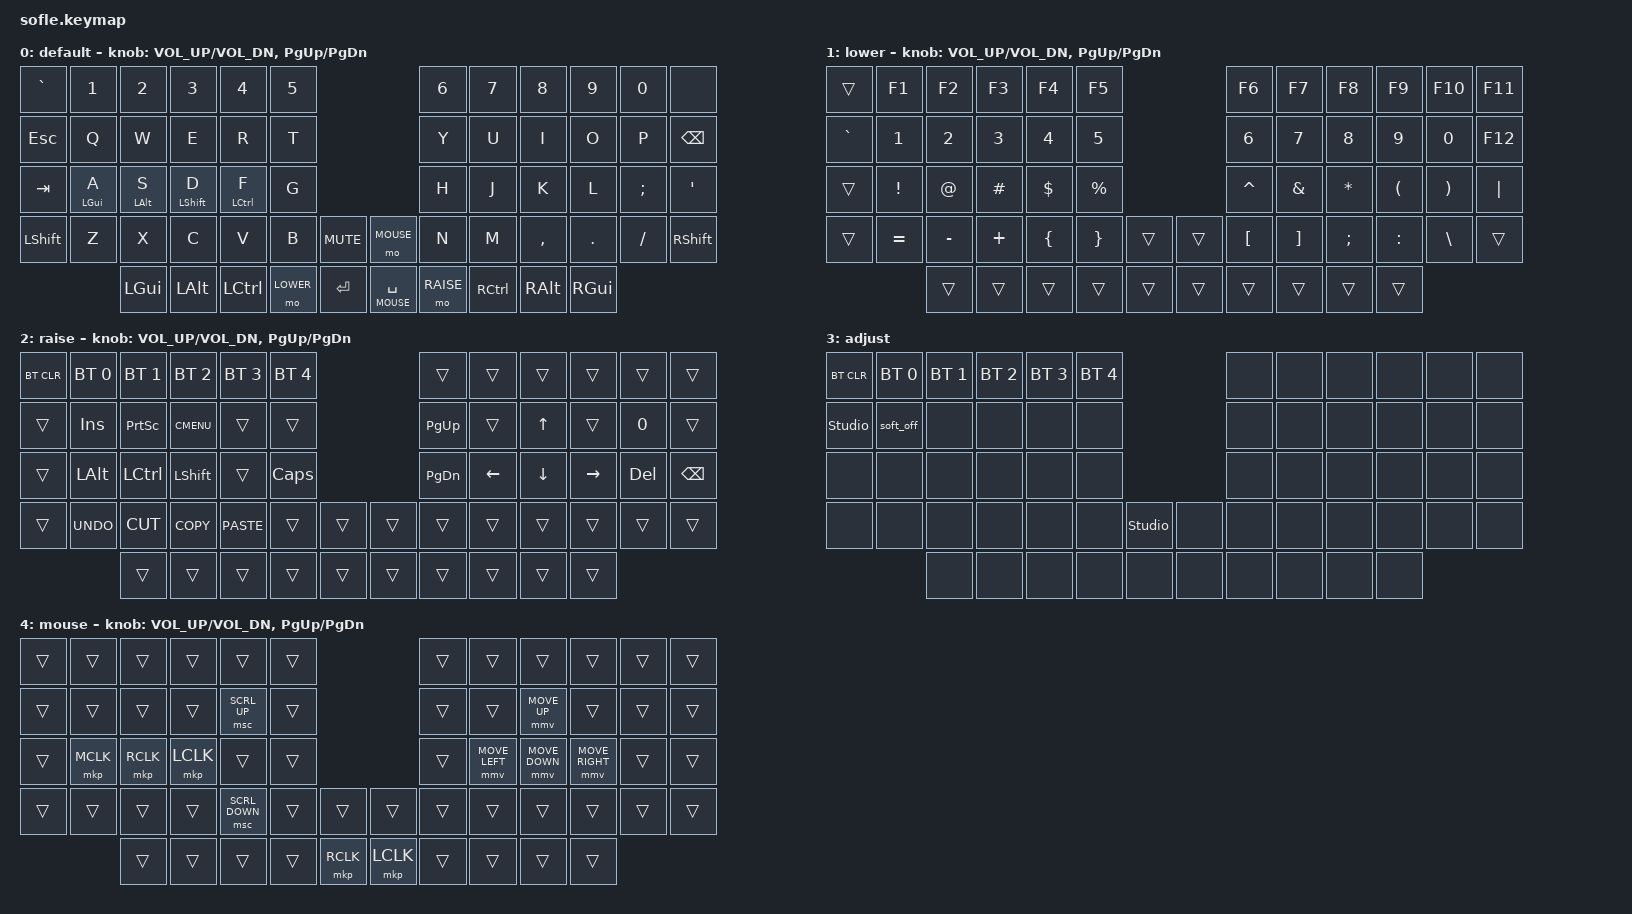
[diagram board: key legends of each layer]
/*
 * Copyright (c) 2020 The ZMK Contributors
 *
 * SPDX-License-Identifier: MIT
 */

#include <behaviors.dtsi>
#include <dt-bindings/zmk/keys.h>
#include <dt-bindings/zmk/bt.h>
#include <dt-bindings/zmk/rgb.h>
#include <dt-bindings/zmk/ext_power.h>
#include <dt-bindings/zmk/pointing.h>

#define BASE 0
#define LOWER 1
#define RAISE 2
#define ADJUST 3
#define MOUSE 4

/ {

   // Activate ADJUST layer by pressing raise and lower
    conditional_layers {
        compatible = "zmk,conditional-layers";
        adjust_layer {
            if-layers = <LOWER RAISE>;
            then-layer = <ADJUST>;
        };
    };

    behaviors {
        // Home-row mods (left hand): tap = letter, hold = modifier.
        hrm: hrm {
            compatible = "zmk,behavior-hold-tap";
            #binding-cells = <2>;
            flavor = "balanced"; // also my be tap-preferred
            tapping-term-ms = <180>;
            bindings = <&kp>, <&kp>;
        };

        // Hold = mouse layer, tap = space.
        lt_mouse: lt_mouse {
            compatible = "zmk,behavior-hold-tap";
            #binding-cells = <2>;
            flavor = "balanced"; // also my be tap-preferred
            tapping-term-ms = <180>;
            bindings = <&mo>, <&kp>;
        };

        // Explicit power off: must be held for 3 seconds.
        // NB: on the right half this still powers that half off immediately
        // (split-peripheral-off-on-press), so rely on layer protection there.
        soft_off: z_so_off {
            hold-time-ms = <3000>;
        };
    };

    keymap {
        compatible = "zmk,keymap";

        default_layer {
            display-name = "default";
// ------------------------------------------------------------------------------------------------------------
// |   `   |  1  |  2  |  3   |  4   |  5   |                   |  6   |  7    |  8    |  9   |   0   |       |
// |  ESC  |  Q  |  W  |  E   |  R   |  T   |                   |  Y   |  U    |  I    |  O   |   P   | BKSPC |
// |  TAB  |  A  |  S  |  D   |  F   |  G   |                   |  H   |  J    |  K    |  L   |   ;   |   '   |
//            (GUI) (ALT) (SHFT) (CTRL)    <- home-row mods: tap letter / hold modifier
// | SHIFT |  Z  |  X  |  C   |  V   |  B   |  MUTE  |  |       |  N   |  M    |  ,    |  .   |   /   | SHIFT |
//               | GUI | ALT  | CTRL | LOWER|  ENTER |  | SPACE | RAISE| CTRL  | ALT   | GUI  |
            bindings = <
&kp GRAVE &kp N1 &kp N2   &kp N3   &kp N4    &kp N5                           &kp N6 &kp N7    &kp N8    &kp N9   &kp N0   &none
&kp ESC   &kp Q  &kp W    &kp E    &kp R     &kp T                            &kp Y  &kp U     &kp I     &kp O    &kp P    &kp BSPC
&kp TAB   &hrm LGUI A &hrm LALT S &hrm LSHFT D &hrm LCTRL F &kp G            &kp H  &kp J     &kp K     &kp L    &kp SEMI &kp SQT
&kp LSHFT &kp Z  &kp X    &kp C    &kp V     &kp B      &kp C_MUTE &mo MOUSE   &kp N  &kp M     &kp COMMA &kp DOT  &kp FSLH &kp RSHFT
                 &kp LGUI &kp LALT &kp LCTRL &mo LOWER  &kp RET    &lt_mouse MOUSE SPACE  &mo RAISE  &kp RCTRL &kp RALT  &kp RGUI
            >;

            sensor-bindings = <&inc_dec_kp C_VOL_UP C_VOL_DN &inc_dec_kp PG_UP PG_DN>;
        };

        lower_layer {
            display-name = "lower";
// TODO: Some binds are waiting for shifted keycode support.
// ------------------------------------------------------------------------------------------------------------
// |       |  F1 |  F2 |  F3  |  F4  |  F5  |                   |  F6  |  F7   |  F8   |  F9  |  F10  |  F11  |
// |   `   |  1  |  2  |  3   |  4   |  5   |                   |  6   |  7    |  8    |  9   |   0   |  F12  |
// |       |  !  |  @  |  #   |  $   |  %   |                   |  ^   |  &    |  *    |  (   |   )   |   |   |
// |       |  =  |  -  |  +   |  {   |  }   |        |  |       |  [   |  ]    |  ;    |  :   |   \   |       |
//               |     |      |      |      |        |  |       |      |       |       |      |
            bindings = <
&trans    &kp F1    &kp F2    &kp F3      &kp F4    &kp F5                    &kp F6    &kp F7   &kp F8    &kp F9    &kp F10   &kp F11
&kp GRAVE &kp N1    &kp N2    &kp N3      &kp N4    &kp N5                    &kp N6    &kp N7   &kp N8    &kp N9    &kp N0    &kp F12
&trans    &kp EXCL  &kp AT    &kp HASH    &kp DLLR  &kp PRCNT                 &kp CARET &kp AMPS &kp ASTRK &kp LPAR  &kp RPAR  &kp PIPE
&trans    &kp EQUAL &kp MINUS &kp PLUS &kp LBRC  &kp RBRC   &trans &trans  &kp LBKT  &kp RBKT &kp SEMI  &kp COLON &kp BSLH  &trans
                    &trans    &trans      &trans    &trans     &trans &trans  &trans    &trans   &trans    &trans
            >;

            sensor-bindings = <&inc_dec_kp C_VOL_UP C_VOL_DN &inc_dec_kp PG_UP PG_DN>;
        };

        raise_layer {
            display-name = "raise";
// ------------------------------------------------------------------------------------------------------------
// | BTCLR | BT1  | BT2  |  BT3  |  BT4  |  BT5 |                |      |      |       |      |       |       |
// |       | INS  | PSCR | GUI   |       |      |                | PGUP |      |   ^   |      |       |       |
// |       | ALT  | CTRL | SHIFT |       | CAPS |                | PGDN |   <- |   v   |  ->  |  DEL  | BKSPC |
// |       | UNDO | CUT  | COPY  | PASTE |      |      |  |      |      |      |       |      |       |       |
//                |      |       |       |      |      |  |      |      |      |       |      |
            bindings = <
&bt BT_CLR &bt BT_SEL 0 &bt BT_SEL 1 &bt BT_SEL 2 &bt BT_SEL 3 &bt BT_SEL 4                  &trans    &trans    &trans   &trans    &trans  &trans
&trans     &kp INS      &kp PSCRN    &kp K_CMENU  &trans       &trans                        &kp PG_UP &trans    &kp UP   &trans    &kp N0  &trans
&trans     &kp LALT     &kp LCTRL    &kp LSHFT    &trans       &kp CLCK                      &kp PG_DN &kp LEFT  &kp DOWN &kp RIGHT &kp DEL &kp BSPC
&trans     &kp K_UNDO   &kp K_CUT    &kp K_COPY   &kp K_PASTE  &trans        &trans  &trans  &trans    &trans    &trans   &trans    &trans  &trans
                        &trans       &trans       &trans       &trans        &trans  &trans  &trans    &trans    &trans   &trans
            >;

            sensor-bindings = <&inc_dec_kp C_VOL_UP C_VOL_DN &inc_dec_kp PG_UP PG_DN>;
        };

        adjust_layer {
// ----------------------------------------------------------------------------------------------------------------------------
// | BTCLR  |  BT1    |  BT2    |   BT3   |   BT4   |   BT5   |                  |      |      |       |      |       |       |
// | UNLOCK |  OFF    |         |         |         |         |                  |      |      |       |      |       |       |
// |        |         |         |         |         |         |                  |      |      |       |      |       |       |
// |        |         |         |         |         |         | STUDIO  | |      |      |      |       |      |       |       |
//                    |         |         |         |         |         | |      |      |      |       |      |
            display-name = "adjust";
            bindings = <
&bt BT_CLR        &bt BT_SEL 0    &bt BT_SEL 1    &bt BT_SEL 2    &bt BT_SEL 3    &bt BT_SEL 4                            &none &none &none &none &none &none
&studio_unlock    &soft_off       &none           &none           &none           &none                                   &none &none &none &none &none &none
&none             &none           &none           &none           &none           &none                                   &none &none &none &none &none &none
&none             &none           &none           &none           &none           &none            &studio_unlock &none   &none &none &none &none &none &none
                                  &none           &none           &none           &none            &none           &none  &none &none &none &none
            >;
        };

        mouse_layer {
            display-name = "mouse";
// -----------------------------------------------------------------------------------------------------------
// |       |     |     |      |      |      |                   |      |      |       |      |       |       |
// |       |     |     |      | SCRU |      |                   |      |      |  ^    |      |       |       |
// |       | MMB | RMB | LMB  |      |      |                   |      |  <-  |  v    |  ->  |       |       |
// |       |     |     |      | SCRD |      |        |  |       |      |      |       |      |       |       |
//               |     |      |      | RMB  |                   | LMB  |      |       |      |       |
            bindings = <
&trans    &trans    &trans    &trans    &trans     &trans                     &trans    &trans    &trans             &trans              &trans   &trans
&trans    &trans    &trans    &trans    &msc SCRL_UP  &trans                   &trans    &trans    &mmv MOVE_UP       &trans              &trans   &trans
&trans    &mkp MCLK &mkp RCLK &mkp LCLK &trans     &trans                     &trans    &mmv MOVE_LEFT &mmv MOVE_DOWN &mmv MOVE_RIGHT &trans   &trans
&trans    &trans    &trans    &trans    &msc SCRL_DOWN  &trans  &trans  &trans &trans    &trans    &trans             &trans              &trans   &trans
                        &trans    &trans    &trans     &trans      &mkp RCLK &mkp LCLK &trans  &trans    &trans   &trans
            >;

            sensor-bindings = <&inc_dec_kp C_VOL_UP C_VOL_DN &inc_dec_kp PG_UP PG_DN>;
        };

        extra2 {
            status = "reserved";
        };

        extra3 {
            status = "reserved";
        };

        extra4 {
            status = "reserved";
        };

        extra5 {
            status = "reserved";
        };

        extra6 {
            status = "reserved";
        };

    };
};
